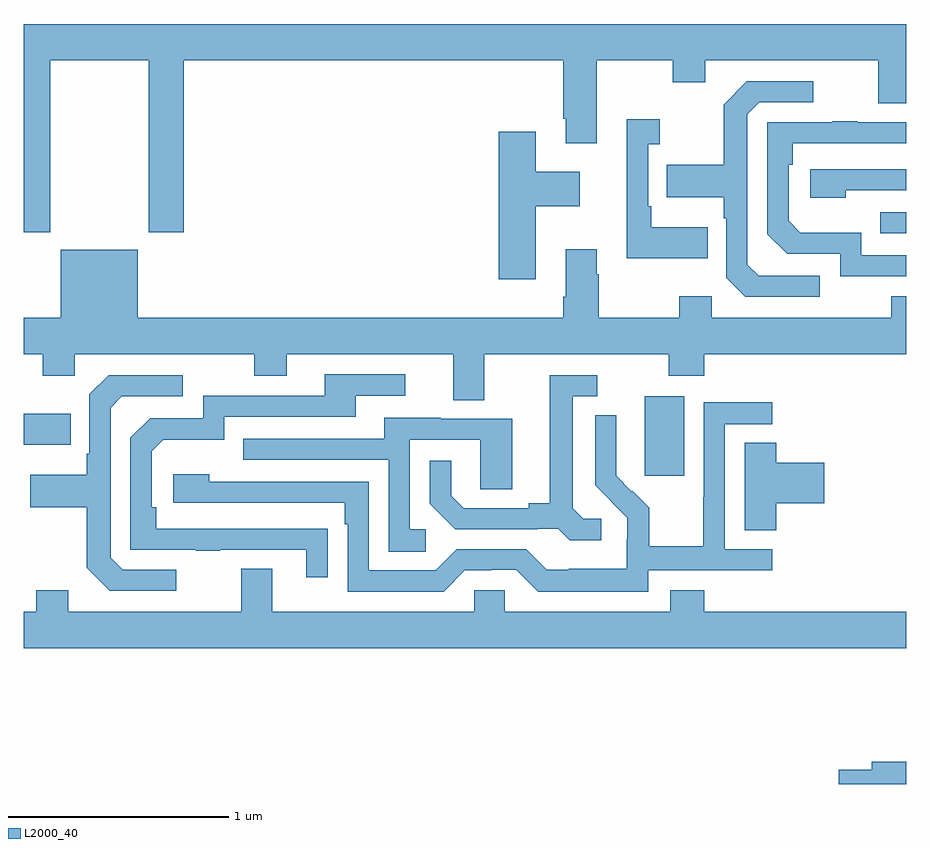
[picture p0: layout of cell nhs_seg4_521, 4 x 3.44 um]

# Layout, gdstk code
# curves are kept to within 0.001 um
import gdstk
lib = gdstk.Library(unit=1e-6, precision=1e-09)
def R(c, l, rs):  # rectangles x0, y0, x1, y1
    for r in rs: c.add(gdstk.rectangle(r[:2], r[2:], *l))
def P(c, l, *ps):  # polygons
    for p in ps: c.add(gdstk.Polygon(p, *l))
L2000_40 = (2000, 40)

nhs_seg4_521 = lib.new_cell('nhs_seg4_521')
R(nhs_seg4_521, L2000_40, [(139.814,768.297,139.993,768.658), (137,768.437,137.213,768.577), (140.881,769.395,141,769.491)])
P(nhs_seg4_521, L2000_40, [(137.121,770.18),(137.566,770.18),(137.566,769.401),(137.726,769.401),(137.726,770.18),(139.445,770.18),(139.445,769.915),(139.457,769.915),(139.457,769.803),(139.597,769.803),(139.597,770.18),(139.942,770.18),(139.942,770.081),(140.089,770.081),(140.089,770.18),(140.873,770.18),(140.873,769.986),(141,769.986),(141,770.344),(137,770.344),(137,769.401),(137.121,769.401)],
  [(140.608,769.203),(140.331,769.203),(140.28,769.254),(140.28,769.935),(140.334,769.989),(140.578,769.989),(140.578,770.085),(140.277,770.085),(140.172,769.979),(140.172,769.707),(139.915,769.707),(139.915,769.559),(140.172,769.559),(140.172,769.463),(140.184,769.463),(140.184,769.194),(140.271,769.107),(140.608,769.107)],
  [(140.099,769.423),(139.843,769.423),(139.843,769.519),(139.83,769.519),(139.83,769.799),(139.882,769.799),(139.882,769.912),(139.733,769.912),(139.733,769.283),(140.099,769.283)],
  [(141,769.296),(140.796,769.296),(140.796,769.399),(140.519,769.399),(140.466,769.452),(140.466,769.706),(140.486,769.706),(140.486,769.803),(141,769.803),(141,769.899),(140.777,769.899),(140.777,769.904),(140.665,769.904),(140.665,769.899),(140.37,769.899),(140.37,769.392),(140.46,769.302),(140.7,769.302),(140.7,769.2),(141,769.2)],
  [(139.321,769.517),(139.519,769.517),(139.519,769.675),(139.321,769.675),(139.321,769.855),(139.154,769.855),(139.154,769.188),(139.321,769.188)],
  [(140.726,769.59),(141,769.59),(141,769.686),(140.565,769.686),(140.565,769.556),(140.726,769.556)],
  [(139.087,768.848),(139.924,768.848),(139.924,768.749),(140.084,768.749),(140.084,768.848),(141,768.848),(141,769.111),(140.932,769.111),(140.932,769.012),(140.118,769.012),(140.118,769.111),(139.972,769.111),(139.972,769.012),(139.605,769.012),(139.605,769.211),(139.597,769.211),(139.597,769.324),(139.457,769.324),(139.457,769.108),(139.445,769.108),(139.445,769.012),(137.518,769.012),(137.518,769.321),(137.168,769.321),(137.168,769.012),(137,769.012),(137,768.848),(137.086,768.848),(137.086,768.749),(137.232,768.749),(137.232,768.848),(138.046,768.848),(138.046,768.749),(138.193,768.749),(138.193,768.848),(138.947,768.848),(138.947,768.64),(139.087,768.64)],
  [(138.377,768.056),(137.6,768.057),(137.6,768.154),(137.58,768.154),(137.58,768.408),(137.633,768.461),(137.91,768.461),(137.91,768.564),(138.505,768.564),(138.505,768.66),(138.73,768.66),(138.73,768.756),(138.365,768.756),(138.365,768.66),(137.814,768.66),(137.814,768.558),(137.574,768.558),(137.484,768.468),(137.484,767.961),(137.779,767.961),(137.779,767.956),(137.891,767.956),(137.891,767.961),(138.281,767.961),(138.281,767.838),(138.377,767.838)],
  [(139.618,768.102),(139.536,768.102),(139.489,768.149),(139.489,768.657),(139.6,768.657),(139.6,768.753),(139.385,768.753),(139.385,768.173),(139.289,768.173),(139.289,768.15),(138.994,768.15),(138.937,768.207),(138.937,768.364),(138.84,768.364),(138.84,768.17),(138.956,768.054),(139.328,768.054),(139.328,768.057),(139.422,768.057),(139.474,768.005),(139.618,768.005)],
  [(137.692,767.871),(137.448,767.871),(137.394,767.925),(137.394,768.606),(137.445,768.657),(137.722,768.657),(137.722,768.753),(137.385,768.753),(137.298,768.666),(137.298,768.397),(137.286,768.397),(137.286,768.301),(137.029,768.301),(137.029,768.154),(137.286,768.154),(137.286,767.881),(137.391,767.775),(137.692,767.775)],
  [(139.83,767.868),(140.392,767.868),(140.392,767.964),(140.178,767.964),(140.178,768.531),(140.392,768.531),(140.392,768.63),(140.082,768.63),(140.082,768.2),(140.08,768.2),(140.08,767.977),(139.835,767.977),(139.835,768.151),(139.758,768.228),(139.755,768.225),(139.685,768.296),(139.686,768.572),(139.59,768.572),(139.59,768.254),(139.736,768.106),(139.736,768.009),(139.734,768.009),(139.734,767.875),(139.471,767.875),(139.471,767.871),(139.371,767.871),(139.278,767.964),(138.963,767.964),(138.867,767.868),(138.564,767.868),(138.564,768.27),(137.84,768.27),(137.84,768.304),(137.679,768.304),(137.679,768.174),(138.455,768.174),(138.455,768.077),(138.468,768.077),(138.468,767.772),(138.903,767.772),(138.999,767.868),(139.118,767.868),(139.118,767.871),(139.233,767.871),(139.333,767.771),(139.83,767.771)],
  [(138.823,768.054),(138.75,768.054),(138.75,768.459),(139.068,768.459),(139.068,768.235),(139.213,768.235),(139.213,768.555),(138.889,768.555),(138.889,768.559),(138.635,768.559),(138.635,768.465),(137.995,768.465),(137.995,768.369),(138.654,768.369),(138.654,767.953),(138.823,767.953)],
  [(140.411,768.173),(140.629,768.173),(140.629,768.356),(140.411,768.356),(140.411,768.446),(140.267,768.446),(140.267,768.049),(140.411,768.049)],
  [(141,767.68),(140.084,767.68),(140.084,767.779),(139.931,767.779),(139.931,767.68),(139.179,767.68),(139.179,767.778),(139.041,767.778),(139.041,767.68),(138.127,767.68),(138.127,767.875),(137.987,767.875),(137.987,767.68),(137.203,767.68),(137.203,767.779),(137.056,767.779),(137.056,767.68),(137,767.68),(137,767.516),(141,767.516)],
  [(141,767),(140.843,767),(140.843,766.964),(140.694,766.964),(140.694,766.9),(141,766.9)])

lib.write_gds('nhs_seg4_521.gds')
